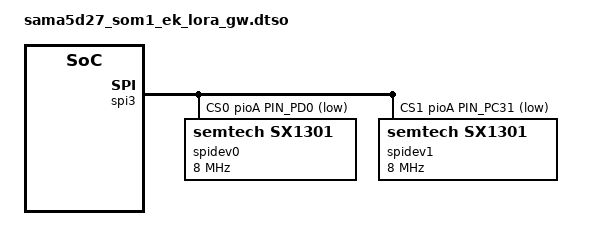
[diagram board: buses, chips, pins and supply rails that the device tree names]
// SPDX-License-Identifier: (GPL-2.0+ OR MIT)
/*
 * sama5d27_som1_ek_isc.dtso - Device Tree file for SAMA5D27 SOM1 EK board
 * overlay blob for Image Sensor Controller Omnivision ov5640 sensor.
 *
 * Copyright (C) 2018 Microchip Technology, Inc.
 * Author: Eugen Hristev <eugen.hristev@microchip.com>
 *
 */
/dts-v1/;
/plugin/;

#include <dt-bindings/gpio/gpio.h>
#include "sama5d2-pinfunc.h"
#include "dt-bindings/pinctrl/at91.h"

&spi3 {
	#address-cells = <1>;
	#size-cells = <0>;
	cs-gpios = <&pioA PIN_PD0 GPIO_ACTIVE_LOW>, <&pioA PIN_PC31 GPIO_ACTIVE_LOW>, <0>, <0>;

	// SPI connected device on mikroBUS1 (CS = PD0)
	spidev0: spidev@0 {
		compatible = "semtech,sx1301";
		status = "okay";
		reg = <0>;
		spi-max-frequency = <8000000>;
		pinctrl-names = "default";
		pinctrl-0 = <&pinctrl_mikrobus1_rst>;
	};

	// SPI connected device on mikroBUS2 (CS = PC31)
	spidev1: spidev@1 {
		compatible = "semtech,sx1301";
		status = "okay";
		reg = <1>;
		spi-max-frequency = <8000000>;
		pinctrl-names = "default";
		pinctrl-0 = <&pinctrl_mikrobus2_rst>;
	};
};

&pinctrl_mikrobus1_rst {
	output-low;
};




